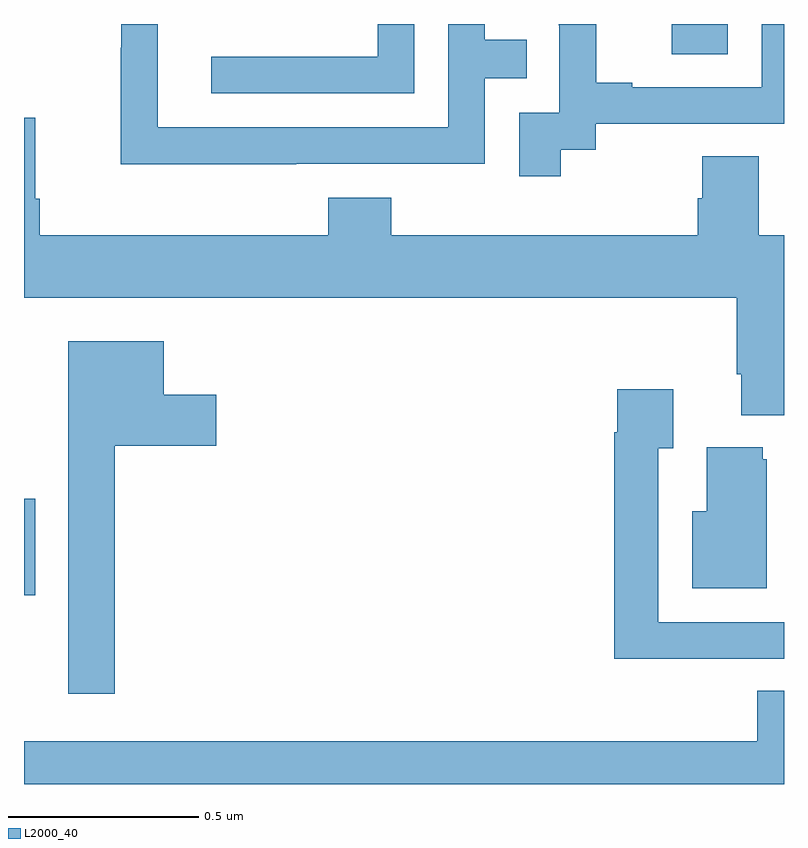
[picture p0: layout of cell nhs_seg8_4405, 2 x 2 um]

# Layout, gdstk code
import gdstk
lib = gdstk.Library(unit=1e-6, precision=1e-09)
def R(c, l, rs):  # rectangles x0, y0, x1, y1
    for r in rs: c.add(gdstk.rectangle(r[:2], r[2:], *l))
def P(c, l, *ps):  # polygons
    for p in ps: c.add(gdstk.Polygon(p, *l))
L2000_40 = (2000, 40)

nhs_seg8_4405 = lib.new_cell('nhs_seg8_4405')
R(nhs_seg8_4405, L2000_40, [(170,1102.397,170.029,1102.651), (171.705,1103.82,171.852,1103.9)])
P(nhs_seg8_4405, L2000_40, [(171.412,1103.569),(171.504,1103.569),(171.504,1103.637),(172,1103.637),(172,1103.9),(171.942,1103.9),(171.942,1103.733),(171.601,1103.733),(171.601,1103.746),(171.506,1103.746),(171.506,1103.9),(171.407,1103.9),(171.407,1103.897),(171.408,1103.897),(171.408,1103.667),(171.303,1103.667),(171.303,1103.499),(171.412,1103.499)],
  [(171.027,1103.9),(170.931,1103.9),(170.931,1103.814),(170.493,1103.814),(170.493,1103.718),(171.027,1103.718)],
  [(170.717,1103.532),(171.213,1103.532),(171.213,1103.757),(171.323,1103.757),(171.323,1103.858),(171.213,1103.858),(171.213,1103.9),(171.117,1103.9),(171.117,1103.628),(170.352,1103.628),(170.352,1103.9),(170.256,1103.9),(170.256,1103.837),(170.254,1103.837),(170.254,1103.531),(170.717,1103.531)],
  [(172,1103.344),(171.933,1103.344),(171.933,1103.552),(171.785,1103.552),(171.785,1103.442),(171.773,1103.442),(171.773,1103.344),(170.966,1103.344),(170.966,1103.443),(170.801,1103.443),(170.801,1103.344),(170.042,1103.344),(170.042,1103.44),(170.029,1103.44),(170.029,1103.653),(170,1103.653),(170,1103.18),(171.875,1103.18),(171.875,1102.978),(171.887,1102.978),(171.887,1102.871),(172,1102.871)],
  [(170.239,1102.79),(170.506,1102.79),(170.506,1102.924),(170.368,1102.924),(170.368,1103.065),(170.117,1103.065),(170.117,1102.137),(170.239,1102.137)],
  [(171.845,1102.23),(172,1102.23),(172,1102.326),(171.669,1102.326),(171.669,1102.783),(171.709,1102.783),(171.709,1102.939),(171.561,1102.939),(171.561,1102.826),(171.553,1102.826),(171.553,1102.229),(171.845,1102.229)],
  [(171.955,1102.755),(171.944,1102.755),(171.944,1102.786),(171.797,1102.786),(171.797,1102.618),(171.758,1102.618),(171.758,1102.415),(171.955,1102.415)],
  [(172,1102.145),(171.929,1102.145),(171.929,1102.012),(170,1102.012),(170,1101.9),(172,1101.9)])

lib.write_gds('nhs_seg8_4405.gds')
